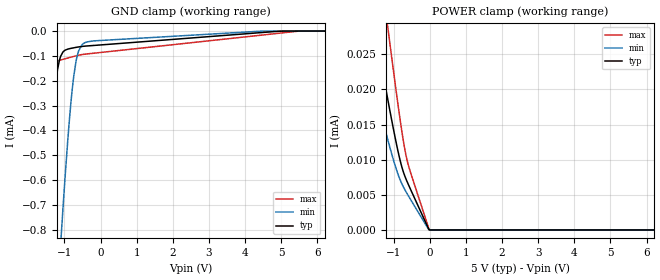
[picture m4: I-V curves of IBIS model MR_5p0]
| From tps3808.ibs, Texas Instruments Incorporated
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|   Model MR_5p0 Input buffer
[Model]   MR_5p0
Model_type   Input
Vinl = 1.35
Vinh = 3.85
|   typ   min   max
|   (nom PVT)   (fast PVT)   (slow PVT)
C_comp   16.66p   15.533p   17.56p
| Where   nom PVT is  Nominal Process, 5V, 27C
|   Fast PVT is Strong Process, 5.5V, -40C
|   Slow PVT is Weak Process, 4.5V, 125C
[Voltage Range]   5   4.5   5.5
[Temperature Range]   27   150   -40
[Power Clamp Reference]   5   4.5   5.5
[GND Clamp Reference]   -0   -0   -0
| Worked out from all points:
|   GND clamp passes 1 mA (typ) near -1.77 V on its own axis
[GND Clamp]
|   Voltage   I(typ)   I(min)   I(max)
-5V       -7.051mA   -11.1mA    -5.851mA
-1.97V    -1.34mA    -3.016mA   -883.1uA
-1.85V    -1.133mA   -2.708mA   -709.2uA
-1.715V   -905.2uA   -2.362mA   -520.6uA
-1.565V   -659.5uA   -1.982mA   -326.9uA
-1.4V     -406.8uA   -1.568mA   -167uA
-1.25V    -212.6uA   -1.201mA   -124.1uA
-1.1V     -100uA     -847.6uA   -116.3uA
-740mV    -67.3uA    -179.6uA   -102uA
-605mV    -63.76uA   -78.91uA   -97.21uA
-410mV    -60.32uA   -45.31uA   -92.56uA
9.985V    0A         0A         0A
[POWER Clamp]
|   Voltage   I(typ)   I(min)   I(max)
-5V       133.1uA    97.31uA    190.4uA
-2.195V   48.6uA     34.6uA     71.61uA
-1.835V   37.98uA    26.81uA    56.58uA
-1.505V   28.36uA    19.83uA    42.92uA
-1.145V   18.17uA    12.57uA    28.28uA
-980mV    13.75uA    9.562uA    21.77uA
-845mV    10.48uA    7.489uA    16.67uA
-740mV    8.444uA    6.253uA    13.04uA
-650mV    7.178uA    5.392uA    10.48uA
-515mV    5.613uA    4.215uA    7.944uA
-5mV      20.83nA    0A         71.32nA
9.985V    0A         0A         0A
